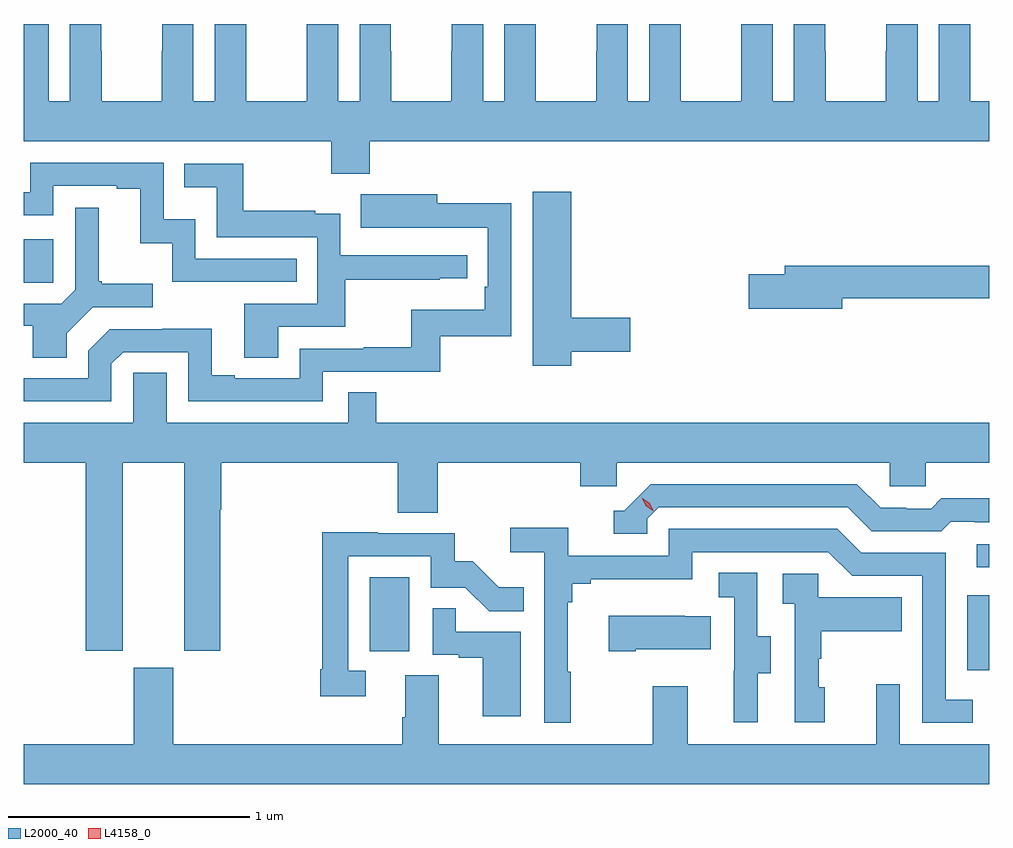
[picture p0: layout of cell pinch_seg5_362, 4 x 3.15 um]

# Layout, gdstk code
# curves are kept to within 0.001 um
import gdstk
lib = gdstk.Library(unit=1e-6, precision=1e-09)
def R(c, l, rs):  # rectangles x0, y0, x1, y1
    for r in rs: c.add(gdstk.rectangle(r[:2], r[2:], *l))
def P(c, l, *ps):  # polygons
    for p in ps: c.add(gdstk.Polygon(p, *l))
L2000_40 = (2000, 40)
L4158_0 = (4158, 0)

pinch_seg5_362 = lib.new_cell('pinch_seg5_362')
R(pinch_seg5_362, L2000_40, [(998.298,891.864,998.389,892.174), (995.822,891.942,995.986,892.249), (998.337,892.29,998.389,892.386), (994.389,893.469,994.512,893.649)])
P(pinch_seg5_362, L2000_40, [(995.822,894.056),(998.389,894.056),(998.389,894.22),(998.311,894.22),(998.311,894.428),(998.31,894.428),(998.31,894.541),(998.18,894.541),(998.18,894.22),(998.092,894.22),(998.092,894.541),(997.962,894.541),(997.962,894.428),(997.961,894.428),(997.961,894.22),(997.711,894.22),(997.711,894.428),(997.71,894.428),(997.71,894.541),(997.58,894.541),(997.58,894.22),(997.492,894.22),(997.492,894.541),(997.362,894.541),(997.362,894.428),(997.361,894.428),(997.361,894.22),(997.111,894.22),(997.111,894.428),(997.11,894.428),(997.11,894.541),(996.98,894.541),(996.98,894.22),(996.892,894.22),(996.892,894.541),(996.762,894.541),(996.762,894.428),(996.761,894.428),(996.761,894.22),(996.511,894.22),(996.511,894.428),(996.51,894.428),(996.51,894.541),(996.38,894.541),(996.38,894.22),(996.292,894.22),(996.292,894.541),(996.162,894.541),(996.162,894.428),(996.161,894.428),(996.161,894.22),(995.911,894.22),(995.911,894.428),(995.91,894.428),(995.91,894.541),(995.78,894.541),(995.78,894.22),(995.692,894.22),(995.692,894.541),(995.562,894.541),(995.562,894.428),(995.561,894.428),(995.561,894.22),(995.311,894.22),(995.311,894.428),(995.31,894.428),(995.31,894.541),(995.18,894.541),(995.18,894.22),(995.092,894.22),(995.092,894.541),(994.962,894.541),(994.962,894.428),(994.961,894.428),(994.961,894.22),(994.711,894.22),(994.711,894.428),(994.71,894.428),(994.71,894.541),(994.58,894.541),(994.58,894.22),(994.492,894.22),(994.492,894.541),(994.389,894.541),(994.389,894.056),(995.662,894.056),(995.662,893.921),(995.822,893.921)],
  [(995.519,893.568),(995.1,893.568),(995.1,893.731),(994.968,893.731),(994.968,893.967),(994.416,893.967),(994.416,893.844),(994.389,893.844),(994.389,893.748),(994.512,893.748),(994.512,893.871),(994.775,893.871),(994.775,893.859),(994.871,893.859),(994.871,893.633),(995.004,893.633),(995.004,893.472),(995.519,893.472)],
  [(995.443,893.286),(995.72,893.286),(995.72,893.482),(996.113,893.482),(996.113,893.487),(996.226,893.487),(996.226,893.583),(995.7,893.583),(995.7,893.755),(995.597,893.755),(995.597,893.767),(995.299,893.767),(995.299,893.961),(995.053,893.961),(995.053,893.864),(995.188,893.864),(995.188,893.658),(995.604,893.658),(995.604,893.382),(995.303,893.382),(995.303,893.158),(995.443,893.158)],
  [(996.658,893.182),(996.901,893.182),(996.901,893.324),(996.658,893.324),(996.658,893.845),(996.497,893.845),(996.497,893.124),(996.658,893.124)],
  [(994.752,893.133),(994.8,893.181),(995.07,893.181),(995.07,892.977),(995.628,892.977),(995.628,893.1),(996.115,893.1),(996.115,893.247),(996.408,893.247),(996.408,893.798),(996.103,893.798),(996.103,893.836),(995.785,893.836),(995.785,893.696),(996.312,893.697),(996.312,893.452),(996.299,893.452),(996.299,893.356),(995.994,893.356),(995.994,893.201),(995.797,893.201),(995.797,893.196),(995.532,893.196),(995.532,893.073),(995.263,893.073),(995.263,893.086),(995.167,893.086),(995.167,893.279),(994.962,893.279),(994.962,893.277),(994.746,893.277),(994.656,893.187),(994.656,893.073),(994.389,893.073),(994.389,892.977),(994.752,892.977)],
  [(994.567,893.26),(994.674,893.367),(994.924,893.367),(994.924,893.464),(994.711,893.464),(994.711,893.476),(994.699,893.476),(994.699,893.779),(994.602,893.779),(994.602,893.439),(994.545,893.382),(994.389,893.382),(994.389,893.29),(994.427,893.29),(994.427,893.158),(994.567,893.158)],
  [(997.78,893.404),(998.389,893.404),(998.389,893.54),(997.541,893.54),(997.541,893.504),(997.392,893.504),(997.392,893.362),(997.78,893.362)],
  [(995.849,893.015),(995.733,893.015),(995.733,892.888),(994.981,892.888),(994.981,893.096),(994.842,893.096),(994.842,892.888),(994.389,892.888),(994.389,892.724),(994.646,892.724),(994.646,891.945),(994.798,891.945),(994.798,892.724),(995.054,892.724),(995.054,891.945),(995.202,891.945),(995.202,892.528),(995.207,892.528),(995.207,892.724),(995.939,892.724),(995.939,892.516),(996.104,892.516),(996.104,892.724),(996.695,892.724),(996.695,892.626),(996.846,892.626),(996.846,892.724),(997.977,892.724),(997.977,892.626),(998.127,892.626),(998.127,892.724),(998.389,892.724),(998.389,892.888),(995.849,892.888)],
  [(996.972,892.491),(997.02,892.539),(997.803,892.539),(997.902,892.44),(998.191,892.44),(998.23,892.479),(998.329,892.479),(998.329,892.476),(998.389,892.476),(998.389,892.576),(998.191,892.576),(998.149,892.533),(998.046,892.533),(998.046,892.536),(997.939,892.536),(997.84,892.635),(996.987,892.635),(996.876,892.524),(996.833,892.524),(996.833,892.428),(996.972,892.428)],
  [(996.655,891.857),(996.643,891.857),(996.643,892.145),(996.662,892.145),(996.662,892.222),(996.739,892.222),(996.739,892.241),(997.158,892.241),(997.158,892.353),(997.722,892.353),(997.821,892.254),(998.112,892.254),(998.112,891.645),(998.321,891.645),(998.321,891.741),(998.208,891.741),(998.208,892.35),(997.858,892.35),(997.759,892.449),(997.062,892.449),(997.062,892.338),(996.644,892.338),(996.644,892.454),(996.405,892.454),(996.405,892.352),(996.546,892.352),(996.546,891.645),(996.655,891.645)],
  [(995.806,891.861),(995.733,891.861),(995.733,892.335),(996.075,892.335),(996.075,892.206),(996.219,892.206),(996.317,892.108),(996.461,892.108),(996.461,892.207),(996.357,892.207),(996.25,892.314),(996.174,892.314),(996.174,892.431),(995.855,892.431),(995.855,892.436),(995.625,892.436),(995.625,891.868),(995.617,891.868),(995.617,891.756),(995.806,891.756)],
  [(997.429,891.85),(997.483,891.85),(997.483,892.005),(997.428,892.005),(997.428,892.268),(997.269,892.268),(997.269,892.165),(997.332,892.165),(997.332,891.861),(997.331,891.861),(997.331,891.648),(997.429,891.648)],
  [(997.708,891.792),(997.683,891.792),(997.683,891.911),(997.693,891.911),(997.693,892.025),(998.027,892.025),(998.027,892.165),(997.68,892.165),(997.68,892.263),(997.533,892.263),(997.533,892.139),(997.584,892.139),(997.584,891.648),(997.708,891.648)],
  [(996.448,892.023),(996.179,892.023),(996.179,892.121),(996.084,892.121),(996.084,891.927),(996.191,891.927),(996.191,891.915),(996.29,891.915),(996.29,891.672),(996.448,891.672)],
  [(996.925,891.95),(997.235,891.95),(997.235,892.087),(997.127,892.087),(997.127,892.09),(996.813,892.09),(996.813,891.943),(996.925,891.943)],
  [(998.389,891.556),(998.019,891.556),(998.019,891.805),(997.922,891.805),(997.922,891.556),(997.141,891.556),(997.141,891.796),(996.994,891.796),(996.994,891.556),(996.109,891.556),(996.109,891.842),(995.969,891.842),(995.969,891.668),(995.957,891.668),(995.957,891.556),(995.008,891.556),(995.008,891.873),(994.844,891.873),(994.844,891.556),(994.389,891.556),(994.389,891.392),(998.389,891.392)])
P(pinch_seg5_362, L4158_0, [(996.996,892.525),(996.966,892.545),(996.95,892.578),(996.95,892.578),(996.95,892.578),(996.981,892.558),(996.997,892.526),(996.997,892.525)])

lib.write_gds('pinch_seg5_362.gds')
